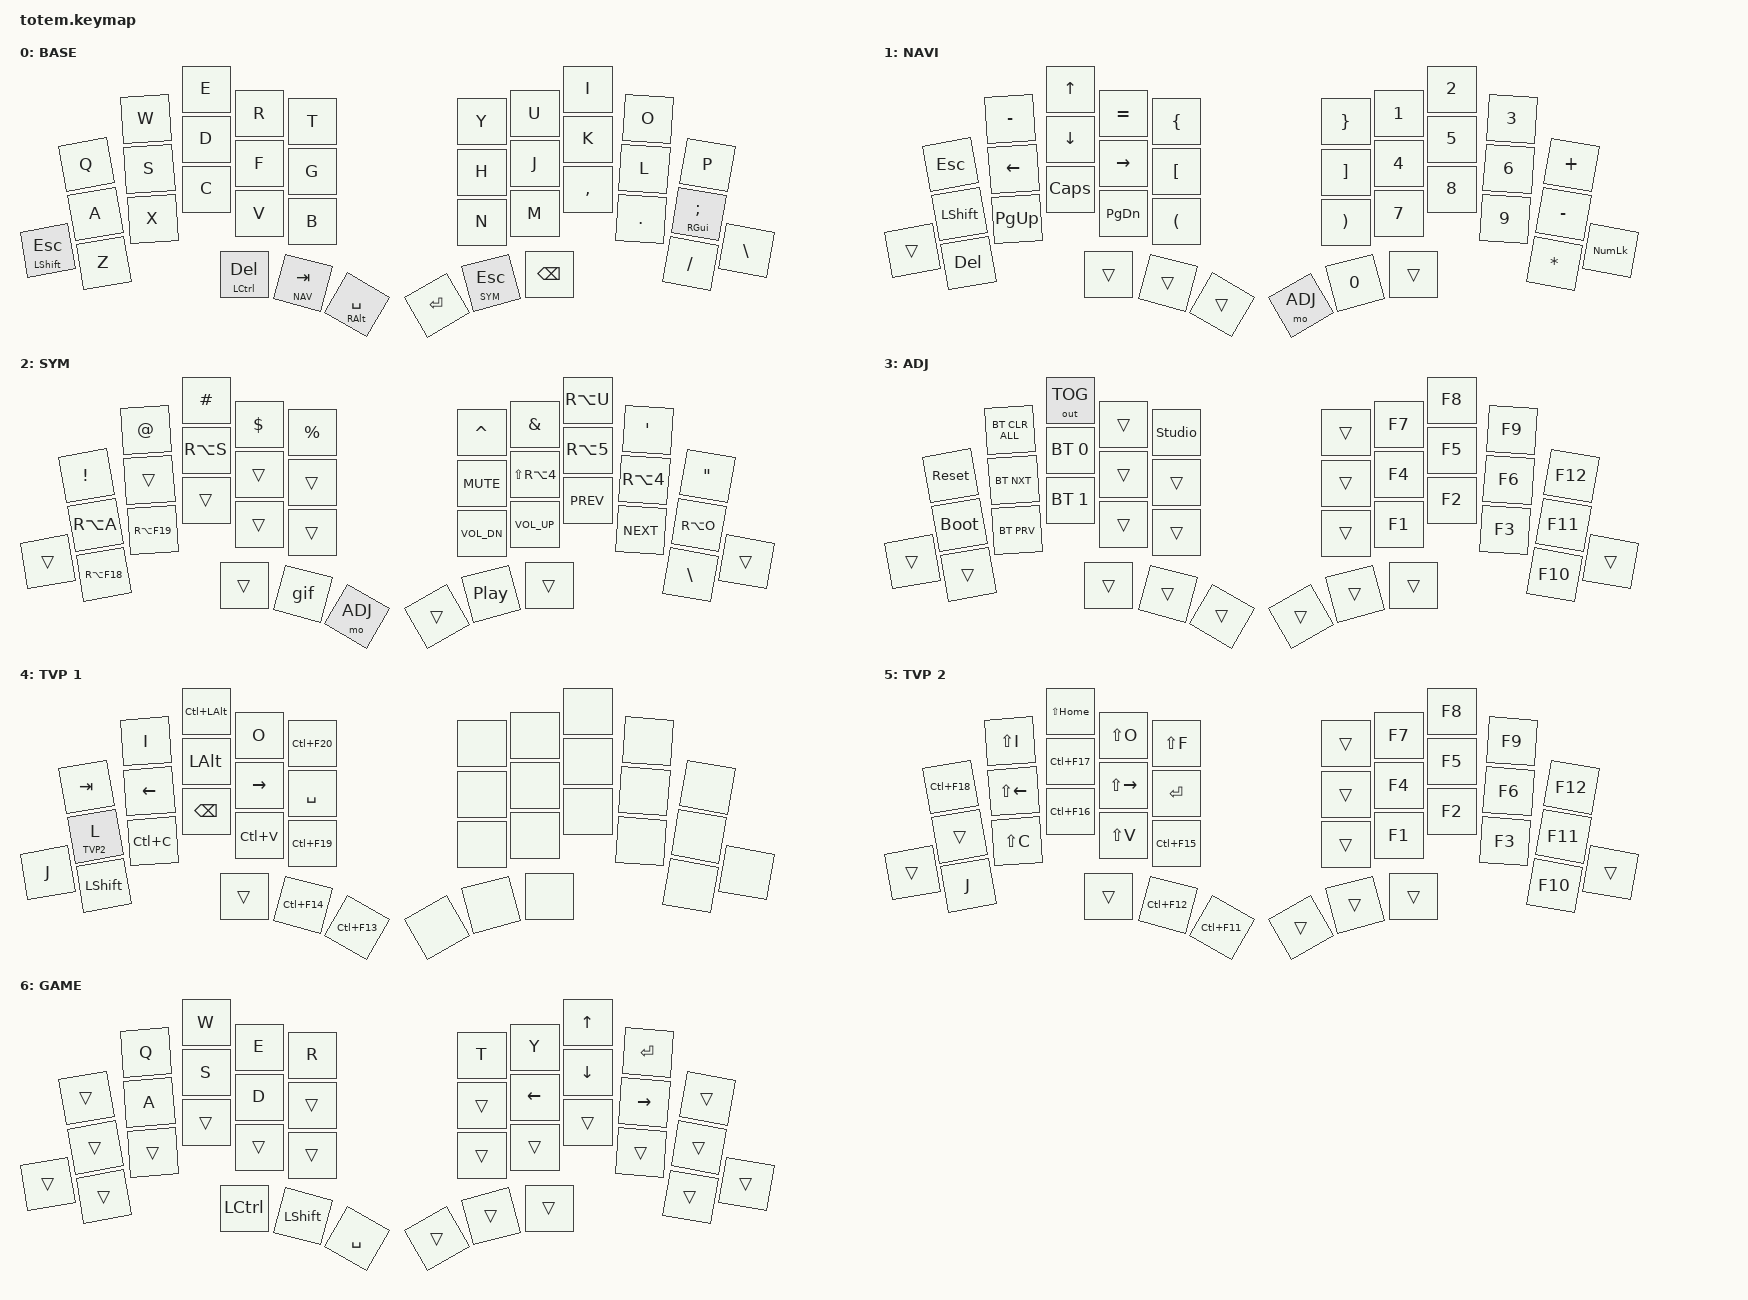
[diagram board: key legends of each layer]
//
//                                                        ▀▀▀▀▀     ▀▀▀▀▀          ▀▀█▀▀
//                                                        ▄▀▀▀▄  ▄  ▄▀▀▀▄  ▄  ▄▀▀▀▄  █  ▄▀▀▀▄
//                                                        █   █  █  █   █  █  █   █  █  █   █
//                                                         ▀▀▀   █   ▀▀▀   █   ▀▀▀   ▀   ▀▀▀
//                                                               █      ▄▄▄█▄▄▄    █   █  
//                                                               ▀      █  █  █     █▄█
//                                                             ▀▀▀▀▀    █  █  █      ▀
//                                                                      ▀  ▀  ▀
//
// ▄▄▄▄▄▄▄▄▄▄▄▄▄▄▄▄▄▄▄▄▄▄▄▄▄▄▄▄▄▄▄▄▄▄▄▄▄▄▄▄▄▄▄▄▄▄▄▄▄▄▄▄▄▄▄▄▄▄▄▄▄▄▄▄▄▄▄▄▄▄▄▄▄▄▄▄▄▄▄▄▄▄▄▄▄▄▄▄▄▄▄▄▄▄▄▄▄▄▄▄▄▄▄▄▄▄▄▄▄▄▄▄▄▄▄▄▄▄▄▄▄▄▄▄▄▄▄▄▄▄▄▄▄▄▄▄▄▄▄▄▄▄▄▄▄▄▄▄▄

#include <behaviors.dtsi>
#include <dt-bindings/zmk/bt.h>
#include <dt-bindings/zmk/keys.h>
#include <dt-bindings/zmk/outputs.h>

#define BASE 0
#define NAV  1
#define SYM  2
#define ADJ  3
#define TVP1 4
#define TVP2 5

&mt {
    quick-tap-ms = <100>;
    global-quick-tap;
    flavor = "tap-preferred";
    tapping-term-ms = <170>;
};

/ {
    combos {
        compatible = "zmk,combos";

        combo_esc {
            timeout-ms = <50>;
            key-positions = <0 1>;
            bindings = <&kp ESC>;
        };

        combo_tvp {
            timeout-ms = <100>;
            key-positions = <11 12 13>;
            bindings = <&tog TVP1>;
        };

        combo_game {
            bindings = <&tog 6>;
            key-positions = <16 17 18>;
        };
    };

    macros {
        gif: gif {
            label = "giphy";
            compatible = "zmk,behavior-macro";
            #binding-cells = <0>;
            bindings =
                <&macro_press>,
                <&kp LSHFT>,
                <&macro_tap>,
                <&kp N2>,
                <&macro_release>,
                <&kp LSHFT>,
                <&macro_tap>,
                <&kp G &kp I &kp F>;
        };
    };

    keymap {
        compatible = "zmk,keymap";

        // ▄▄▄▄▄▄▄▄▄▄▄▄▄▄▄▄▄▄▄▄▄▄▄▄▄▄▄▄▄▄▄▄▄▄▄▄▄▄▄▄▄▄▄▄▄▄▄▄▄▄▄▄▄▄▄▄▄▄▄▄▄▄▄▄▄▄▄▄▄▄▄▄▄▄▄▄▄▄▄▄▄▄▄▄▄▄▄▄▄▄▄▄▄▄▄▄▄▄▄▄▄▄▄▄▄▄▄▄▄▄▄▄▄▄▄▄▄▄▄▄▄▄▄▄▄▄▄▄▄▄▄▄▄▄▄▄▄▄▄▄▄▄▄▄▄▄▄▄▄

        base_layer {
            // ┏━━━━━━━━━━━━━━━━━━━━━━━━━━━━━━━━━━━━━━━┓

            label = "BASE";

            // ┗━━━━━━━━━━━━━━━━━━━━━━━━━━━━━━━━━━━━━━━┛
            //             ┏━━━━━━━━━━━┳━━━━━━━━━━━┳━━━━━━━━━━━┳━━━━━━━━━━━┳━━━━━━━━━━━┓   ┏━━━━━━━━━━━┳━━━━━━━━━━━┳━━━━━━━━━━━┳━━━━━━━━━━━┳━━━━━━━━━━━┓
            //             ┃     Q     ┃     W     ┃     E     ┃     R     ┃     T     ┃   ┃     Y     ┃     U     ┃     I     ┃     O     ┃     P     ┃
            //             ┣━━━━━━━━━━━╋━━━━━━━━━━━╋━━━━━━━━━━━╋━━━━━━━━━━━╋━━━━━━━━━━━┫   ┣━━━━━━━━━━━╋━━━━━━━━━━━╋━━━━━━━━━━━╋━━━━━━━━━━━╋━━━━━━━━━━━┫
            //             ┃     A     ┃     S     ┃     D     ┃     F     ┃     G     ┃   ┃     H     ┃     J     ┃     K     ┃     L     ┃     O     ┃
            // ┏━━━━━━━━━━━╋━━━━━━━━━━━╋━━━━━━━━━━━╋━━━━━━━━━━━╋━━━━━━━━━━━╋━━━━━━━━━━━┫   ┣━━━━━━━━━━━╋━━━━━━━━━━━╋━━━━━━━━━━━╋━━━━━━━━━━━╋━━━━━━━━━━━╋━━━━━━━━━━━┓
            // ┃    ESC    ┃     Z     ┃     X     ┃     C     ┃     V     ┃     B     ┃   ┃     N     ┃     M     ┃     ,     ┃     .     ┃     /     ┃     \     ┃
            // ┗━━━━━━━━━━━┻━━━━━━━━━━━┻━━━━━━━━━━━╋━━━━━━━━━━━╋━━━━━━━━━━━╋━━━━━━━━━━━┫   ┣━━━━━━━━━━━╋━━━━━━━━━━━╋━━━━━━━━━━━╋━━━━━━━━━━━┻━━━━━━━━━━━┻━━━━━━━━━━━┛
            //                                     ┃    DEL    ┃    TAB    ┃    SPC    ┃   ┃   ENTER   ┃           ┃   BSPC    ┃
            //                                     ┗━━━━━━━━━━━┻━━━━━━━━━━━┻━━━━━━━━━━━┛   ┗━━━━━━━━━━━┻━━━━━━━━━━━┻━━━━━━━━━━━┛

            bindings = <
                    &kp Q  &kp W  &kp E             &kp R        &kp T                  &kp Y    &kp U        &kp I      &kp O    &kp P
                    &kp A  &kp S  &kp D             &kp F        &kp G                  &kp H    &kp J        &kp K      &kp L    &mt RGUI SEMI
&mt LEFT_SHIFT ESC  &kp Z  &kp X  &kp C             &kp V        &kp B                  &kp N    &kp M        &kp COMMA  &kp DOT  &kp FSLH       &kp BSLH
                                  &mt LCTRL DELETE  &lt NAV TAB  &mt RIGHT_ALT SPACE    &kp RET  &lt SYM ESC  &kp BSPC
            >;
        };

        // ▄▄▄▄▄▄▄▄▄▄▄▄▄▄▄▄▄▄▄▄▄▄▄▄▄▄▄▄▄▄▄▄▄▄▄▄▄▄▄▄▄▄▄▄▄▄▄▄▄▄▄▄▄▄▄▄▄▄▄▄▄▄▄▄▄▄▄▄▄▄▄▄▄▄▄▄▄▄▄▄▄▄▄▄▄▄▄▄▄▄▄▄▄▄▄▄▄▄▄▄▄▄▄▄▄▄▄▄▄▄▄▄▄▄▄▄▄▄▄▄▄▄▄▄▄▄▄▄▄▄▄▄▄▄▄▄▄▄▄▄▄▄▄▄▄▄▄▄▄

        nav_layer {
            // ┏━━━━━━━━━━━━━━━━━━━━━━━━━━━━━━━━━━━━━━━┓

            label = "NAVI";

            // ┗━━━━━━━━━━━━━━━━━━━━━━━━━━━━━━━━━━━━━━━┛
            //             ┏━━━━━━━━━━━┳━━━━━━━━━━━┳━━━━━━━━━━━┳━━━━━━━━━━━┳━━━━━━━━━━━┓   ┏━━━━━━━━━━━┳━━━━━━━━━━━┳━━━━━━━━━━━┳━━━━━━━━━━━┳━━━━━━━━━━━┓
            //             ┃           ┃           ┃     UP    ┃           ┃     {     ┃   ┃     }     ┃     7     ┃     8     ┃     9     ┃     +     ┃
            //             ┣━━━━━━━━━━━╋━━━━━━━━━━━╋━━━━━━━━━━━╋━━━━━━━━━━━╋━━━━━━━━━━━┫   ┣━━━━━━━━━━━╋━━━━━━━━━━━╋━━━━━━━━━━━╋━━━━━━━━━━━╋━━━━━━━━━━━┫
            //             ┃   SHIFT   ┃   LEFT    ┃    DOWN   ┃   RIGHT   ┃     [     ┃   ┃     ]     ┃     4     ┃     5     ┃     6     ┃     -     ┃
            // ┏━━━━━━━━━━━╋━━━━━━━━━━━╋━━━━━━━━━━━╋━━━━━━━━━━━╋━━━━━━━━━━━╋━━━━━━━━━━━┫   ┣━━━━━━━━━━━╋━━━━━━━━━━━╋━━━━━━━━━━━╋━━━━━━━━━━━╋━━━━━━━━━━━╋━━━━━━━━━━━┓
            // ┃           ┃           ┃   P UP    ┃  C LOCK   ┃  P DOWN   ┃     (     ┃   ┃     )     ┃     1     ┃     2     ┃     3     ┃     *     ┃           ┃
            // ┗━━━━━━━━━━━┻━━━━━━━━━━━┻━━━━━━━━━━━╋━━━━━━━━━━━╋━━━━━━━━━━━╋━━━━━━━━━━━┫   ┣━━━━━━━━━━━╋━━━━━━━━━━━╋━━━━━━━━━━━╋━━━━━━━━━━━┻━━━━━━━━━━━┻━━━━━━━━━━━┛
            //                                     ┃           ┃    TAB    ┃    SPC    ┃   ┃    DEL    ┃     0     ┃           ┃
            //                                     ┗━━━━━━━━━━━┻━━━━━━━━━━━┻━━━━━━━━━━━┛   ┗━━━━━━━━━━━┻━━━━━━━━━━━┻━━━━━━━━━━━┛

            bindings = <
        &kp ESC    &kp MINUS    &kp UP    &kp EQUAL      &kp LBRC    &kp RBRC  &kp NUMBER_1  &kp NUMBER_2  &kp NUMBER_3  &kp PLUS
        &kp LSHFT  &kp LEFT     &kp DOWN  &kp RIGHT      &kp LBKT    &kp RBKT  &kp NUMBER_4  &kp NUMBER_5  &kp NUMBER_6  &kp MINUS
&trans  &kp DEL    &kp PAGE_UP  &kp CAPS  &kp PAGE_DOWN  &kp LPAR    &kp RPAR  &kp NUMBER_7  &kp NUMBER_8  &kp NUMBER_9  &kp ASTERISK  &kp KP_NUM
                                &trans    &trans         &trans      &mo ADJ   &kp NUMBER_0  &trans
            >;
        };

        // ▄▄▄▄▄▄▄▄▄▄▄▄▄▄▄▄▄▄▄▄▄▄▄▄▄▄▄▄▄▄▄▄▄▄▄▄▄▄▄▄▄▄▄▄▄▄▄▄▄▄▄▄▄▄▄▄▄▄▄▄▄▄▄▄▄▄▄▄▄▄▄▄▄▄▄▄▄▄▄▄▄▄▄▄▄▄▄▄▄▄▄▄▄▄▄▄▄▄▄▄▄▄▄▄▄▄▄▄▄▄▄▄▄▄▄▄▄▄▄▄▄▄▄▄▄▄▄▄▄▄▄▄▄▄▄▄▄▄▄▄▄▄▄▄▄▄▄▄▄

        sim_layer {
            // ┏━━━━━━━━━━━━━━━━━━━━━━━━━━━━━━━━━━━━━━━┓

            label = "SYM";

            // ┗━━━━━━━━━━━━━━━━━━━━━━━━━━━━━━━━━━━━━━━┛
            //             ┏━━━━━━━━━━━┳━━━━━━━━━━━┳━━━━━━━━━━━┳━━━━━━━━━━━┳━━━━━━━━━━━┓   ┏━━━━━━━━━━━┳━━━━━━━━━━━┳━━━━━━━━━━━┳━━━━━━━━━━━┳━━━━━━━━━━━┓
            //             ┃     !     ┃     @     ┃     #     ┃     $     ┃     %     ┃   ┃     ˆ     ┃     &     ┃     Ü     ┃     '     ┃     "     ┃
            //             ┣━━━━━━━━━━━╋━━━━━━━━━━━╋━━━━━━━━━━━╋━━━━━━━━━━━╋━━━━━━━━━━━┫   ┣━━━━━━━━━━━╋━━━━━━━━━━━╋━━━━━━━━━━━╋━━━━━━━━━━━╋━━━━━━━━━━━┫
            //             ┃     Ä     ┃           ┃    SZ     ┃           ┃           ┃   ┃   MUTE    ┃   YEN     ┃   EURO    ┃  POUND    ┃     Ö     ┃
            // ┏━━━━━━━━━━━╋━━━━━━━━━━━╋━━━━━━━━━━━╋━━━━━━━━━━━╋━━━━━━━━━━━╋━━━━━━━━━━━┫   ┣━━━━━━━━━━━╋━━━━━━━━━━━╋━━━━━━━━━━━╋━━━━━━━━━━━╋━━━━━━━━━━━╋━━━━━━━━━━━┓
            // ┃           ┃  EMAIL1   ┃  EMAIL2   ┃           ┃           ┃           ┃   ┃   VOL-    ┃   VOL+    ┃   LAST    ┃   NEXT    ┃     \     ┃           ┃
            // ┗━━━━━━━━━━━┻━━━━━━━━━━━┻━━━━━━━━━━━╋━━━━━━━━━━━╋━━━━━━━━━━━╋━━━━━━━━━━━┫   ┣━━━━━━━━━━━╋━━━━━━━━━━━╋━━━━━━━━━━━╋━━━━━━━━━━━┻━━━━━━━━━━━┻━━━━━━━━━━━┛
            //                                     ┃           ┃    GIF    ┃    ADJ    ┃   ┃           ┃           ┃           ┃
            //                                     ┗━━━━━━━━━━━┻━━━━━━━━━━━┻━━━━━━━━━━━┛   ┗━━━━━━━━━━━┻━━━━━━━━━━━┻━━━━━━━━━━━┛

            bindings = <
        &kp EXCL     &kp AT       &kp HASH   &kp DLLR  &kp PRCNT    &kp CARET     &kp AMPS        &kp RA(U)   &kp SQT     &kp DQT
        &kp RA(A)    &trans       &kp RA(S)  &trans    &trans       &kp C_MUTE    &kp LS(RA(N4))  &kp RA(N5)  &kp RA(N4)  &kp RA(O)
&trans  &kp RA(F18)  &kp RA(F19)  &trans     &trans    &trans       &kp C_VOL_DN  &kp C_VOL_UP    &kp C_PREV  &kp C_NEXT  &kp BSLH   &trans
                                  &trans     &gif      &mo ADJ      &trans        &kp C_PP        &trans
            >;
        };

        // ▄▄▄▄▄▄▄▄▄▄▄▄▄▄▄▄▄▄▄▄▄▄▄▄▄▄▄▄▄▄▄▄▄▄▄▄▄▄▄▄▄▄▄▄▄▄▄▄▄▄▄▄▄▄▄▄▄▄▄▄▄▄▄▄▄▄▄▄▄▄▄▄▄▄▄▄▄▄▄▄▄▄▄▄▄▄▄▄▄▄▄▄▄▄▄▄▄▄▄▄▄▄▄▄▄▄▄▄▄▄▄▄▄▄▄▄▄▄▄▄▄▄▄▄▄▄▄▄▄▄▄▄▄▄▄▄▄▄▄▄▄▄▄▄▄▄▄▄▄

        adjust_layer {
            // ┏━━━━━━━━━━━━━━━━━━━━━━━━━━━━━━━━━━━━━━━┓

            label = "ADJ";

            // ┗━━━━━━━━━━━━━━━━━━━━━━━━━━━━━━━━━━━━━━━┛
            //             ┏━━━━━━━━━━━┳━━━━━━━━━━━┳━━━━━━━━━━━┳━━━━━━━━━━━┳━━━━━━━━━━━┓   ┏━━━━━━━━━━━┳━━━━━━━━━━━┳━━━━━━━━━━━┳━━━━━━━━━━━┳━━━━━━━━━━━┓
            //             ┃   RESET   ┃ BT CLEAR  ┃  OUT TOG  ┃           ┃           ┃   ┃           ┃    F7     ┃    F8     ┃    F9     ┃    F12    ┃
            //             ┣━━━━━━━━━━━╋━━━━━━━━━━━╋━━━━━━━━━━━╋━━━━━━━━━━━╋━━━━━━━━━━━┫   ┣━━━━━━━━━━━╋━━━━━━━━━━━╋━━━━━━━━━━━╋━━━━━━━━━━━╋━━━━━━━━━━━┫
            //             ┃ BOOTLOAD  ┃ BT NEXT   ┃           ┃           ┃           ┃   ┃           ┃    F4     ┃    F5     ┃    F6     ┃    F11    ┃
            // ┏━━━━━━━━━━━╋━━━━━━━━━━━╋━━━━━━━━━━━╋━━━━━━━━━━━╋━━━━━━━━━━━╋━━━━━━━━━━━┫   ┣━━━━━━━━━━━╋━━━━━━━━━━━╋━━━━━━━━━━━╋━━━━━━━━━━━╋━━━━━━━━━━━╋━━━━━━━━━━━┓
            // ┃           ┃           ┃ BT PREV   ┃           ┃           ┃           ┃   ┃           ┃    F1     ┃    F2     ┃    F3     ┃    F10    ┃           ┃
            // ┗━━━━━━━━━━━┻━━━━━━━━━━━┻━━━━━━━━━━━╋━━━━━━━━━━━╋━━━━━━━━━━━╋━━━━━━━━━━━┫   ┣━━━━━━━━━━━╋━━━━━━━━━━━╋━━━━━━━━━━━╋━━━━━━━━━━━┻━━━━━━━━━━━┻━━━━━━━━━━━┛
            //                                     ┃           ┃           ┃           ┃   ┃           ┃           ┃           ┃
            //                                     ┗━━━━━━━━━━━┻━━━━━━━━━━━┻━━━━━━━━━━━┛   ┗━━━━━━━━━━━┻━━━━━━━━━━━┻━━━━━━━━━━━┛

            bindings = <
        &sys_reset   &bt BT_CLR_ALL  &out OUT_TOG  &trans  &studio_unlock    &trans  &kp F7  &kp F8  &kp F9  &kp F12
        &bootloader  &bt BT_NXT      &bt BT_SEL 0  &trans  &trans            &trans  &kp F4  &kp F5  &kp F6  &kp F11
&trans  &trans       &bt BT_PRV      &bt BT_SEL 1  &trans  &trans            &trans  &kp F1  &kp F2  &kp F3  &kp F10  &trans
                                     &trans        &trans  &trans            &trans  &trans  &trans
            >;
        };

        // ▄▄▄▄▄▄▄▄▄▄▄▄▄▄▄▄▄▄▄▄▄▄▄▄▄▄▄▄▄▄▄▄▄▄▄▄▄▄▄▄▄▄▄▄▄▄▄▄▄▄▄▄▄▄▄▄▄▄▄▄▄▄▄▄▄▄▄▄▄▄▄▄▄▄▄▄▄▄▄▄▄▄▄▄▄▄▄▄▄▄▄▄▄▄▄▄▄▄▄▄▄▄▄▄▄▄▄▄▄▄▄▄▄▄▄▄▄▄▄▄▄▄▄▄▄▄▄▄▄▄▄▄▄▄▄▄▄▄▄▄▄▄▄▄▄▄▄▄▄

        tvp1_layer {
            // ┏━━━━━━━━━━━━━━━━━━━━━━━━━━━━━━━━━━━━━━━┓

            label = "TVP 1";

            // ┗━━━━━━━━━━━━━━━━━━━━━━━━━━━━━━━━━━━━━━━┛
            //             ┏━━━━━━━━━━━┳━━━━━━━━━━━┳━━━━━━━━━━━┳━━━━━━━━━━━┳━━━━━━━━━━━┓   ┏━━━━━━━━━━━┳━━━━━━━━━━━┳━━━━━━━━━━━┳━━━━━━━━━━━┳━━━━━━━━━━━┓
            //             ┃ NEXT FILE ┃ MARK IN   ┃ ROTATE    ┃ MARK OUT  ┃ SHOW SNAP ┃   ┃           ┃           ┃           ┃           ┃           ┃
            //             ┣━━━━━━━━━━━╋━━━━━━━━━━━╋━━━━━━━━━━━╋━━━━━━━━━━━╋━━━━━━━━━━━┫   ┣━━━━━━━━━━━╋━━━━━━━━━━━╋━━━━━━━━━━━╋━━━━━━━━━━━╋━━━━━━━━━━━┫
            //             ┃ TVP II    ┃ LEFT      ┃ PAN       ┃ RIGHT     ┃ PLAY/FLIP ┃   ┃           ┃           ┃           ┃           ┃           ┃
            // ┏━━━━━━━━━━━╋━━━━━━━━━━━╋━━━━━━━━━━━╋━━━━━━━━━━━╋━━━━━━━━━━━╋━━━━━━━━━━━┫   ┣━━━━━━━━━━━╋━━━━━━━━━━━╋━━━━━━━━━━━╋━━━━━━━━━━━╋━━━━━━━━━━━╋━━━━━━━━━━━┓
            // ┃ FULLSCR   ┃ SHIFT     ┃ COPY      ┃ DELETE    ┃ PASTE     ┃ IMG MARK  ┃   ┃           ┃           ┃           ┃           ┃           ┃           ┃
            // ┗━━━━━━━━━━━┻━━━━━━━━━━━┻━━━━━━━━━━━╋━━━━━━━━━━━╋━━━━━━━━━━━╋━━━━━━━━━━━┫   ┣━━━━━━━━━━━╋━━━━━━━━━━━╋━━━━━━━━━━━╋━━━━━━━━━━━┻━━━━━━━━━━━┻━━━━━━━━━━━┛
            //                                     ┃           ┃ UNDO/SAVE ┃  SEL/MOV  ┃   ┃           ┃           ┃           ┃
            //                                     ┗━━━━━━━━━━━┻━━━━━━━━━━━┻━━━━━━━━━━━┛   ┗━━━━━━━━━━━┻━━━━━━━━━━━┻━━━━━━━━━━━┛

            bindings = <
       &kp TAB     &kp I      &kp LC(LALT)  &kp O        &kp LC(F20)    &none  &none  &none  &none  &none
       &lt TVP2 L  &kp LEFT   &kp LALT      &kp RIGHT    &kp SPACE      &none  &none  &none  &none  &none
&kp J  &kp LSHFT   &kp LC(C)  &kp BSPC      &kp LC(V)    &kp LC(F19)    &none  &none  &none  &none  &none  &none
                              &trans        &kp LC(F14)  &kp LC(F13)    &none  &none  &none
            >;
        };

        // ▄▄▄▄▄▄▄▄▄▄▄▄▄▄▄▄▄▄▄▄▄▄▄▄▄▄▄▄▄▄▄▄▄▄▄▄▄▄▄▄▄▄▄▄▄▄▄▄▄▄▄▄▄▄▄▄▄▄▄▄▄▄▄▄▄▄▄▄▄▄▄▄▄▄▄▄▄▄▄▄▄▄▄▄▄▄▄▄▄▄▄▄▄▄▄▄▄▄▄▄▄▄▄▄▄▄▄▄▄▄▄▄▄▄▄▄▄▄▄▄▄▄▄▄▄▄▄▄▄▄▄▄▄▄▄▄▄▄▄▄▄▄▄▄▄▄▄▄▄

        tvp2_layer {
            // ┏━━━━━━━━━━━━━━━━━━━━━━━━━━━━━━━━━━━━━━━┓

            label = "TVP 2";

            // ┗━━━━━━━━━━━━━━━━━━━━━━━━━━━━━━━━━━━━━━━┛
            //             ┏━━━━━━━━━━━┳━━━━━━━━━━━┳━━━━━━━━━━━┳━━━━━━━━━━━┳━━━━━━━━━━━┓   ┏━━━━━━━━━━━┳━━━━━━━━━━━┳━━━━━━━━━━━┳━━━━━━━━━━━┳━━━━━━━━━━━┓
            //             ┃ SOLO      ┃ TOGGLE IN ┃ RESET ROT ┃ TOGGLE OUT┃ TAKE SNAP ┃   ┃           ┃           ┃           ┃           ┃           ┃
            //             ┣━━━━━━━━━━━╋━━━━━━━━━━━╋━━━━━━━━━━━╋━━━━━━━━━━━╋━━━━━━━━━━━┫   ┣━━━━━━━━━━━╋━━━━━━━━━━━╋━━━━━━━━━━━╋━━━━━━━━━━━╋━━━━━━━━━━━┫
            //             ┃ ---       ┃ LAST KEY  ┃ NEW KEY   ┃ NEXT KEY  ┃ ENTER     ┃   ┃           ┃           ┃           ┃           ┃           ┃
            // ┏━━━━━━━━━━━╋━━━━━━━━━━━╋━━━━━━━━━━━╋━━━━━━━━━━━╋━━━━━━━━━━━╋━━━━━━━━━━━┫   ┣━━━━━━━━━━━╋━━━━━━━━━━━╋━━━━━━━━━━━╋━━━━━━━━━━━╋━━━━━━━━━━━╋━━━━━━━━━━━┓
            // ┃           ┃ FULLSCR   ┃ CPY2BRUSH ┃ DEL HEAD  ┃ PSTinPLACE┃ BOOK MARK ┃   ┃           ┃           ┃           ┃           ┃           ┃           ┃
            // ┗━━━━━━━━━━━┻━━━━━━━━━━━┻━━━━━━━━━━━╋━━━━━━━━━━━╋━━━━━━━━━━━╋━━━━━━━━━━━┫   ┣━━━━━━━━━━━╋━━━━━━━━━━━╋━━━━━━━━━━━╋━━━━━━━━━━━┻━━━━━━━━━━━┻━━━━━━━━━━━┛
            //                                     ┃           ┃ REDO/SAV1 ┃TRANS/WARP ┃   ┃           ┃           ┃           ┃
            //                                     ┗━━━━━━━━━━━┻━━━━━━━━━━━┻━━━━━━━━━━━┛   ┗━━━━━━━━━━━┻━━━━━━━━━━━┻━━━━━━━━━━━┛

            bindings = <
        &kp LC(F18)  &kp LS(I)     &kp LS(HOME)  &kp LS(O)      &kp LS(F)      &trans  &kp F7  &kp F8  &kp F9  &kp F12
        &trans       &kp LS(LEFT)  &kp LC(F17)   &kp LS(RIGHT)  &kp RET        &trans  &kp F4  &kp F5  &kp F6  &kp F11
&trans  &kp J        &kp LS(C)     &kp LC(F16)   &kp LS(V)      &kp LC(F15)    &trans  &kp F1  &kp F2  &kp F3  &kp F10  &trans
                                   &trans        &kp LC(F12)    &kp LC(F11)    &trans  &trans  &trans
            >;
        };

        GAME {
            bindings = <
        &trans  &kp Q   &kp W      &kp E           &kp R        &kp T   &kp Y           &kp UP_ARROW    &kp ENTER        &trans
        &trans  &kp A   &kp S      &kp D           &trans       &trans  &kp LEFT_ARROW  &kp DOWN_ARROW  &kp RIGHT_ARROW  &trans
&trans  &trans  &trans  &trans     &trans          &trans       &trans  &trans          &trans          &trans           &trans  &trans
                        &kp LCTRL  &kp LEFT_SHIFT  &kp SPACE    &trans  &trans          &trans
            >;
        };
    };
};
